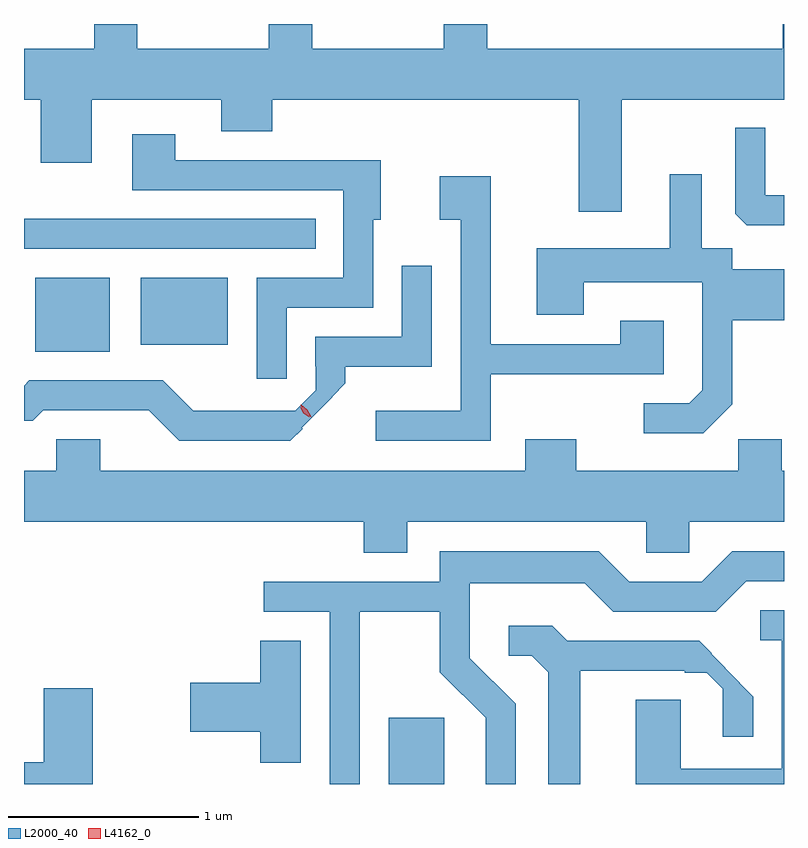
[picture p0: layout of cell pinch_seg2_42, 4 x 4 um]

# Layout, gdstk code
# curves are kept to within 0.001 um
import gdstk
lib = gdstk.Library(unit=1e-6, precision=1e-09)
def R(c, l, rs):  # rectangles x0, y0, x1, y1
    for r in rs: c.add(gdstk.rectangle(r[:2], r[2:], *l))
def P(c, l, *ps):  # polygons
    for p in ps: c.add(gdstk.Polygon(p, *l))
L2000_40 = (2000, 40)
L4162_0 = (4162, 0)

pinch_seg2_42 = lib.new_cell('pinch_seg2_42')
R(pinch_seg2_42, L2000_40, [(1219.781,1046.935,1220.074,1047.284), (1217.921,1049.211,1218.314,1049.599), (1218.476,1049.246,1218.934,1049.599), (1217.862,1049.751,1219.398,1049.909)])
P(pinch_seg2_42, L2000_40, [(1220.299,1050.935),(1220.071,1050.935),(1220.071,1050.804),(1219.379,1050.804),(1219.379,1050.935),(1219.151,1050.935),(1219.151,1050.804),(1218.459,1050.804),(1218.459,1050.935),(1218.231,1050.935),(1218.231,1050.804),(1217.862,1050.804),(1217.862,1050.536),(1217.951,1050.536),(1217.951,1050.206),(1218.219,1050.206),(1218.219,1050.536),(1218.901,1050.536),(1218.901,1050.371),(1219.169,1050.371),(1219.169,1050.536),(1220.781,1050.536),(1220.781,1049.946),(1221.009,1049.946),(1221.009,1050.536),(1221.862,1050.536),(1221.862,1050.935),(1221.856,1050.935),(1221.856,1050.804),(1220.299,1050.804)],
  [(1221.862,1050.034),(1221.764,1050.034),(1221.764,1050.388),(1221.606,1050.388),(1221.606,1049.937),(1221.667,1049.876),(1221.862,1049.876)],
  [(1219.244,1049.441),(1219.699,1049.441),(1219.699,1049.906),(1219.739,1049.906),(1219.739,1050.219),(1218.659,1050.219),(1218.659,1050.354),(1218.431,1050.354),(1218.431,1050.061),(1219.541,1050.061),(1219.541,1049.599),(1219.086,1049.599),(1219.086,1049.068),(1219.244,1049.068)],
  [(1221.589,1048.934),(1221.589,1049.376),(1221.862,1049.376),(1221.862,1049.644),(1221.589,1049.644),(1221.589,1049.754),(1221.429,1049.754),(1221.429,1050.143),(1221.261,1050.143),(1221.261,1049.754),(1220.561,1049.754),(1220.561,1049.406),(1220.809,1049.406),(1220.809,1049.576),(1221.431,1049.576),(1221.431,1049.007),(1221.364,1048.939),(1221.123,1048.939),(1221.123,1048.781),(1221.437,1048.781)],
  [(1220.319,1049.091),(1221.229,1049.091),(1221.229,1049.374),(1221.001,1049.374),(1221.001,1049.249),(1220.319,1049.249),(1220.319,1050.134),(1220.051,1050.134),(1220.051,1049.906),(1220.161,1049.906),(1220.161,1048.899),(1219.713,1048.899),(1219.713,1048.741),(1220.319,1048.741)],
  [(1219.328,1048.805),(1219.324,1048.81),(1219.485,1048.971),(1219.484,1048.973),(1219.554,1049.044),(1219.554,1049.131),(1220.009,1049.131),(1220.009,1049.663),(1219.851,1049.663),(1219.851,1049.289),(1219.396,1049.289),(1219.397,1049.007),(1219.289,1048.899),(1218.752,1048.899),(1218.592,1049.059),(1217.889,1049.059),(1217.862,1049.032),(1217.862,1048.846),(1217.907,1048.846),(1217.962,1048.901),(1218.519,1048.901),(1218.679,1048.741),(1219.264,1048.741)],
  [(1220.769,1048.749),(1220.501,1048.749),(1220.501,1048.584),(1218.264,1048.584),(1218.264,1048.749),(1218.031,1048.749),(1218.031,1048.584),(1217.862,1048.584),(1217.862,1048.316),(1219.651,1048.316),(1219.651,1048.151),(1219.879,1048.151),(1219.879,1048.316),(1221.136,1048.316),(1221.136,1048.151),(1221.364,1048.151),(1221.364,1048.316),(1221.862,1048.316),(1221.862,1048.584),(1221.849,1048.584),(1221.849,1048.749),(1221.621,1048.749),(1221.621,1048.584),(1220.769,1048.584)],
  [(1219.629,1047.841),(1220.051,1047.841),(1220.051,1047.524),(1220.291,1047.284),(1220.291,1046.935),(1220.449,1046.935),(1220.449,1047.357),(1220.209,1047.597),(1220.209,1047.991),(1220.814,1047.991),(1220.964,1047.841),(1221.502,1047.841),(1221.662,1048.001),(1221.862,1048.001),(1221.862,1048.159),(1221.589,1048.159),(1221.429,1047.999),(1221.047,1047.999),(1220.887,1048.159),(1220.051,1048.159),(1220.051,1047.999),(1219.123,1047.999),(1219.123,1047.841),(1219.471,1047.841),(1219.471,1046.935),(1219.629,1046.935)],
  [(1221.862,1047.849),(1221.738,1047.849),(1221.738,1047.691),(1221.851,1047.691),(1221.851,1047.014),(1221.319,1047.014),(1221.319,1047.379),(1221.081,1047.379),(1221.081,1046.935),(1221.862,1046.935)],
  [(1220.789,1047.531),(1221.34,1047.531),(1221.34,1047.52),(1221.455,1047.52),(1221.539,1047.436),(1221.539,1047.183),(1221.699,1047.183),(1221.699,1047.395),(1221.628,1047.466),(1221.63,1047.469),(1221.479,1047.62),(1221.482,1047.623),(1221.416,1047.689),(1220.722,1047.689),(1220.642,1047.769),(1220.413,1047.769),(1220.413,1047.611),(1220.534,1047.611),(1220.621,1047.524),(1220.621,1046.935),(1220.789,1046.935)],
  [(1219.319,1047.689),(1219.106,1047.689),(1219.106,1047.469),(1218.736,1047.469),(1218.736,1047.211),(1219.106,1047.211),(1219.106,1047.046),(1219.319,1047.046)],
  [(1218.224,1047.439),(1217.966,1047.439),(1217.966,1047.049),(1217.862,1047.049),(1217.862,1046.935),(1218.224,1046.935)])
P(pinch_seg2_42, L4162_0, [(1219.374,1048.866),(1219.339,1048.891),(1219.319,1048.929),(1219.319,1048.93),(1219.32,1048.93),(1219.354,1048.905),(1219.375,1048.867),(1219.375,1048.866)],
  [(1219.364,1048.866),(1219.333,1048.886),(1219.317,1048.919),(1219.317,1048.919),(1219.318,1048.919),(1219.348,1048.899),(1219.364,1048.866),(1219.364,1048.866)])

lib.write_gds('pinch_seg2_42.gds')
